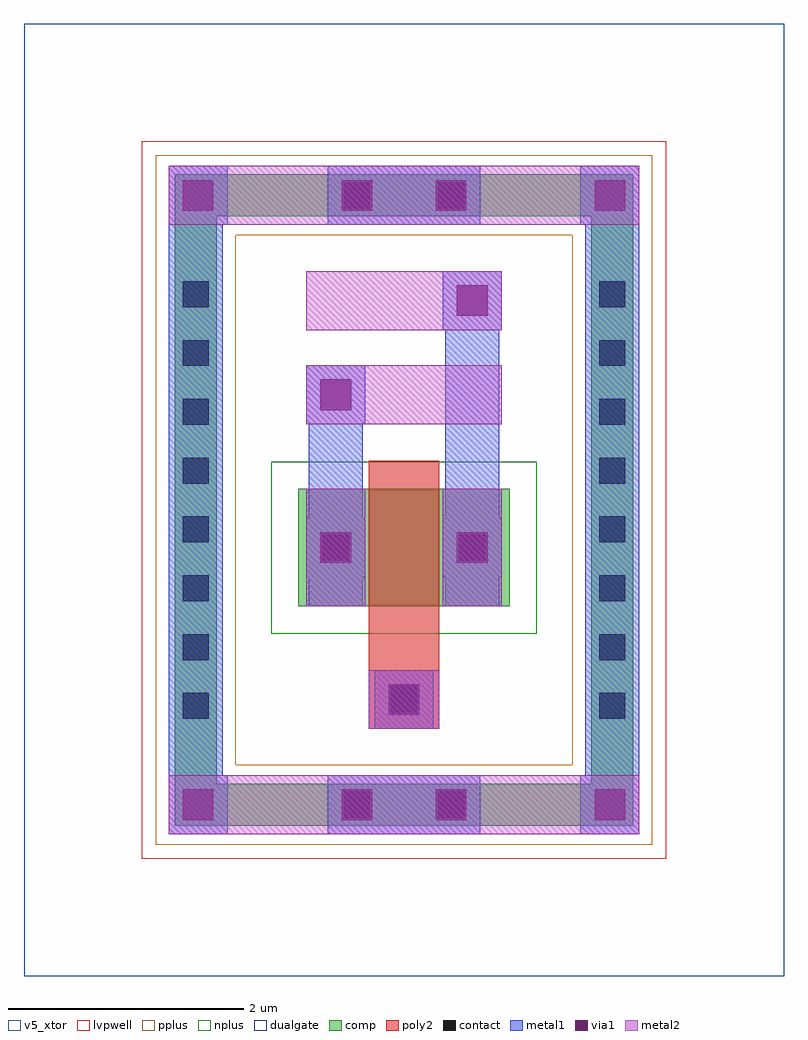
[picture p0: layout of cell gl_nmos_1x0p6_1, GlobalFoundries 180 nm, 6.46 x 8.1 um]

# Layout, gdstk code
import gdstk
lib = gdstk.Library(unit=1e-6, precision=1e-09)
def R(c, l, rs):  # rectangles x0, y0, x1, y1
    for r in rs: c.add(gdstk.rectangle(r[:2], r[2:], *l))
def A(c, l, x, y, w, h, nx, ny, dx, dy):  # array of equal rectangles
    R(c, l, [(x+i*dx, y+j*dy, x+i*dx+w, y+j*dy+h) for i in range(nx) for j in range(ny)])
def P(c, l, *ps):  # polygons
    for p in ps: c.add(gdstk.Polygon(p, *l))
comp = (22, 0)
poly2 = (30, 0)
pplus = (31, 0)
nplus = (32, 0)
contact = (33, 0)
metal1 = (34, 0)
via1 = (35, 0)
metal2 = (36, 0)
dualgate = (55, 0)
v5_xtor = (112, 1)
lvpwell = (204, 0)

gl_nmos_1x0p6_1 = lib.new_cell('gl_nmos_1x0p6_1')
A(gl_nmos_1x0p6_1, comp, -1.95, -1.93, 0.36, 0.36, 1, 8, 0, 0.5)
A(gl_nmos_1x0p6_1, comp, 1.59, -1.93, 0.36, 0.36, 1, 8, 0, 0.5)
R(gl_nmos_1x0p6_1, comp, [(-0.58,-2.77,-0.22,-2.41), (-0.58,-2.77,0.58,-2.41), (0.22,-2.77,0.58,-2.41), (-1.95,-1.93,-1.59,1.93), (1.59,-1.93,1.95,1.93), (-0.9,-0.905,0.9,0.095), (-0.58,2.41,-0.22,2.77), (-0.58,2.41,0.58,2.77), (0.22,2.41,0.58,2.77)])
P(gl_nmos_1x0p6_1, comp, [(-1.95,-2.77),(-1.95,-2.41),(-1.59,-2.41),(1.59,-2.41),(1.59,2.41),(-1.59,2.41),(-1.59,-2.41),(-1.95,-2.41),(-1.95,2.77),(1.95,2.77),(1.95,-2.77)])
R(gl_nmos_1x0p6_1, poly2, [(-0.3,-1.945,0.3,-1.445), (-0.18,-1.875,0.18,-1.515), (-0.3,-1.445,0.3,-1.145), (-0.3,-1.145,0.3,0.335)])
P(gl_nmos_1x0p6_1, pplus, [(-2.11,-2.93),(-2.11,-2.25),(-1.43,-2.25),(1.43,-2.25),(1.43,2.25),(-1.43,2.25),(-1.43,-2.25),(-2.11,-2.25),(-2.11,2.93),(2.11,2.93),(2.11,-2.93)])
R(gl_nmos_1x0p6_1, nplus, [(-1.13,-1.135,1.13,0.325)])
A(gl_nmos_1x0p6_1, contact, -1.88, -1.86, 0.22, 0.22, 1, 8, 0, 0.5)
A(gl_nmos_1x0p6_1, contact, 1.66, -1.86, 0.22, 0.22, 1, 8, 0, 0.5)
R(gl_nmos_1x0p6_1, contact, [(-0.51,-2.7,-0.29,-2.48), (0.29,-2.7,0.51,-2.48), (-0.11,-1.805,0.11,-1.585), (-0.69,-0.515,-0.47,-0.295), (0.47,-0.515,0.69,-0.295), (-0.51,2.48,-0.29,2.7), (0.29,2.48,0.51,2.7)])
A(gl_nmos_1x0p6_1, metal1, -2, -1.98, 0.46, 0.46, 1, 8, 0, 0.5)
A(gl_nmos_1x0p6_1, metal1, 1.54, -1.98, 0.46, 0.46, 1, 8, 0, 0.5)
R(gl_nmos_1x0p6_1, metal1, [(-2,-2.84,-1.5,-2.34), (-2,-2.84,-1.5,-2.34), (-2,-2.84,-1.54,-2.41), (-0.65,-2.84,-0.15,-2.34), (-0.65,-2.84,0.65,-2.34), (0.15,-2.84,0.65,-2.34), (1.5,-2.84,2,-2.34), (1.5,-2.84,2,-2.34), (1.54,-2.84,2,-2.41), (-2,-2.41,-1.54,2.41), (1.54,-2.41,2,2.41), (-0.25,-1.945,0.25,-1.445), (-0.81,-0.905,-0.35,0.095), (0.35,-0.905,0.81,0.095), (-0.83,-0.655,-0.33,-0.155), (-0.83,-0.655,-0.33,-0.155), (0.33,-0.655,0.83,-0.155), (0.33,-0.655,0.83,-0.155), (-0.81,-0.635,-0.35,-0.175), (0.35,-0.635,0.81,-0.175), (-0.81,0.095,-0.35,1.145), (0.35,0.095,0.81,1.945), (-0.83,0.645,-0.33,1.145), (0.33,1.445,0.83,1.945), (-2,2.34,-1.5,2.84), (-2,2.34,-1.5,2.84), (-0.65,2.34,-0.15,2.84), (-0.65,2.34,0.65,2.84), (0.15,2.34,0.65,2.84), (1.5,2.34,2,2.84), (1.5,2.34,2,2.84), (-2,2.41,-1.54,2.84), (1.54,2.41,2,2.84)])
R(gl_nmos_1x0p6_1, via1, [(-1.88,-2.72,-1.62,-2.46), (-0.53,-2.72,-0.27,-2.46), (0.27,-2.72,0.53,-2.46), (1.62,-2.72,1.88,-2.46), (-0.13,-1.825,0.13,-1.565), (-0.71,-0.535,-0.45,-0.275), (0.45,-0.535,0.71,-0.275), (-0.71,0.765,-0.45,1.025), (0.45,1.565,0.71,1.825), (-1.88,2.46,-1.62,2.72), (-0.53,2.46,-0.27,2.72), (0.27,2.46,0.53,2.72), (1.62,2.46,1.88,2.72)])
R(gl_nmos_1x0p6_1, metal2, [(-2,-2.84,-1.5,-2.34), (-2,-2.84,-1.5,-2.34), (-2,-2.84,-1.59,-2.34), (-1.59,-2.84,1.59,-2.34), (-0.65,-2.84,-0.15,-2.34), (0.15,-2.84,0.65,-2.34), (1.5,-2.84,2,-2.34), (1.5,-2.84,2,-2.34), (1.59,-2.84,2,-2.34), (-0.3,-1.945,0.3,-1.445), (-0.25,-1.945,0.25,-1.445), (-0.83,-0.905,-0.33,0.095), (0.33,-0.905,0.83,0.095), (-0.83,-0.655,-0.33,-0.155), (0.33,-0.655,0.83,-0.155), (-0.83,0.645,-0.33,1.145), (-0.83,0.645,0.83,1.145), (-0.83,1.445,0.83,1.945), (0.33,1.445,0.83,1.945), (-2,2.34,-1.5,2.84), (-2,2.34,-1.5,2.84), (-2,2.34,-1.59,2.84), (-1.59,2.34,1.59,2.84), (-0.65,2.34,-0.15,2.84), (0.15,2.34,0.65,2.84), (1.5,2.34,2,2.84), (1.5,2.34,2,2.84), (1.59,2.34,2,2.84)])
R(gl_nmos_1x0p6_1, dualgate, [(-3.23,-4.05,3.23,4.05)])
R(gl_nmos_1x0p6_1, v5_xtor, [(-3.23,-4.05,3.23,4.05)])
R(gl_nmos_1x0p6_1, lvpwell, [(-2.23,-3.05,2.23,3.05)])

lib.write_gds('gl_nmos_1x0p6_1.gds')
